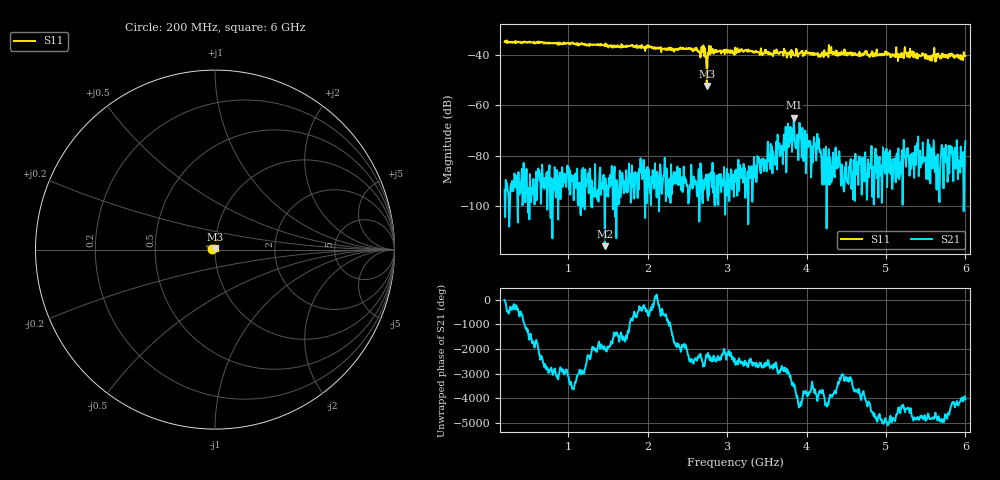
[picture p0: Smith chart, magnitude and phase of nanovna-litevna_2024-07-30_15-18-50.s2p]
! NanoVNA-App by OneOfEleven et al v1.1.209 (+OD15)
! Date: 2024-07-30 15:18:53
! Start: 200MHz Stop: 6GHz Points: 801
! S-Parameter data: F S11 S21 S12 S22
# Hz S RI R 50
!  Frequency  S11_Real  S11_Imag  S21_Real  S21_Imag  S12_Real  S12_Imag  S22_Real  S22_Imag
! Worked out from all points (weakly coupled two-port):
!   801 points, 200 MHz to 6 GHz, reference 50 ohm
!   highest |S21| = -64.84 dB at 3.84 GHz (marker M1); lowest = -115.9 dB at 1.462 GHz (marker M2)
!   lowest |S11| = -52.3 dB at 2.745 GHz (marker M3), VSWR 1.00, Z = 49.9 + j0.212 ohm
!   |S11| at or under -10 dB: start of sweep to end of sweep
!   S12 and S22 are empty: the file has one direction only
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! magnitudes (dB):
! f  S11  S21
! 200 MHz  -34.7  -93.5
! 1.171 GHz  -35.2  -85.5
! 1.462 GHz  -36.4  -115.9
! 2.136 GHz  -37.5  -90.5
! 2.701 GHz  -36.1  -89.7
! 2.745 GHz  -52.3  -92.2
! 2.796 GHz  -36.5  -89.1
! 3.1 GHz  -37.0  -86.0
! 3.586 GHz  -38.9  -82.0
! 3.818 GHz  -39.0  -78.5
! 3.84 GHz  -40.0  -64.8
! 4.072 GHz  -39.0  -76.3
! 4.122 GHz  -39.3  -81.9
! 4.209 GHz  -38.9  -82.1
! 4.318 GHz  -39.3  -89.8
! 5.036 GHz  -39.2  -86.4
! 5.311 GHz  -39.5  -79.6
! 5.398 GHz  -41.4  -77.0
! 5.463 GHz  -40.1  -74.7
! 5.551 GHz  -40.7  -76.2
! 5.935 GHz  -40.6  -86.7
! 6 GHz  -40.2  -74.2
